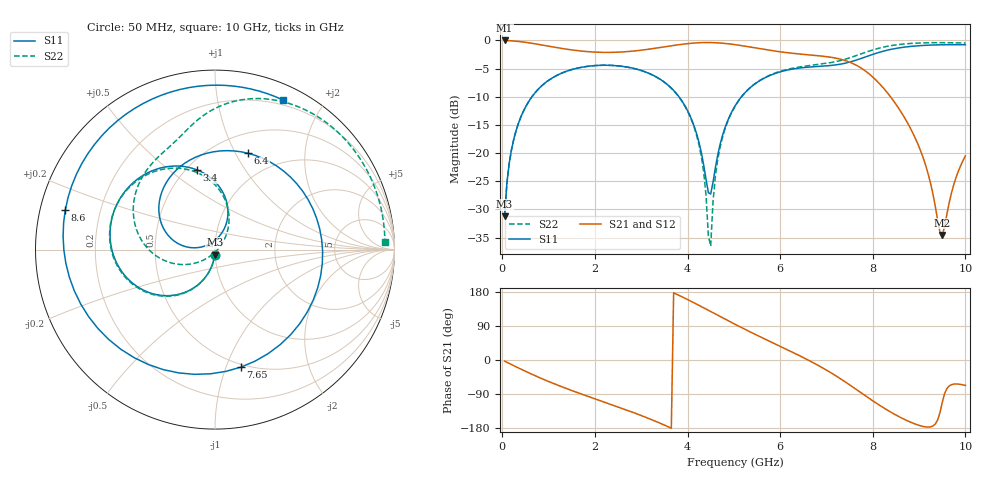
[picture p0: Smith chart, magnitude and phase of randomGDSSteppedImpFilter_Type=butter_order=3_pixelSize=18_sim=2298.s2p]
! freq	dB(S11)	phase(S11)	dB(S12)	phase(S12)
!  dB(S21)	phase(S21)	dB(S22)	phase(S22)
!S-par simulation data
#  GHz  S  DB  R 50
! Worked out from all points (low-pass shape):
!   200 points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, 50 MHz to 10 GHz, reference 50 ohm
!   highest |S21| = -0.01 dB at 50 MHz (marker M1); lowest = -34.5 dB at 9.5 GHz (marker M2)
!   |S21| within 3 dB of the highest: start of sweep to 7.108 GHz
!   lowest |S11| = -31.2 dB at 50 MHz (marker M3), VSWR 1.06, Z = 49.8 - j2.73 ohm
!   |S11| at or under -10 dB: start of sweep to 640.7 MHz; 3.814 GHz to 5.165 GHz (1.35 GHz wide, 30.1 % of centre)
!   |S22| runs from -36.5 to -0.4 dB; largest |S21 - S12| = 0
!   S11 on the Smith chart (normalised r, x): 50 MHz: 1.00, -0.05; 3.4 GHz: 0.56, +0.63; 6.4 GHz: 0.71, +1.13; 7.65 GHz: 0.47, -1.13; 8.6 GHz: 0.07, +0.13; 10 GHz: 0.15, +1.54
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0.05  -31.24 -93.2  -0.01 -3.1  -0.01 -3.1  -31.24 -93.1
0.2  -19.33 -102.7  -0.07 -12.2  -0.07 -12.2  -19.33 -102.6
0.5  -11.85 -120.5  -0.33 -29.8  -0.33 -29.8  -11.85 -120.1
1.75  -4.71 177.1  -1.92 -91.6  -1.92 -91.6  -4.71 178.7
3.4  -6.85 102.6  -1.27 -166.4  -1.27 -166.4  -6.86 105.6
4.15  -15.38 67.1  -0.46 150.3  -0.46 150.3  -15.60 62.2
4.35  -22.15 72.1  -0.38 137.6  -0.38 137.6  -23.47 45.2
4.5  -27.26 133.3  -0.38 128.0  -0.38 128.0  -36.51 -86.6
4.55  -25.17 156.3  -0.39 124.7  -0.39 124.7  -28.63 -122.3
4.65  -20.41 173.3  -0.43 118.3  -0.43 118.3  -21.26 -137.6
5.05  -11.31 163.2  -0.78 92.7  -0.78 92.7  -11.36 -165.2
5.7  -6.51 122.7  -1.65 53.6  -1.65 53.6  -6.46 160.9
6.4  -4.92 71.0  -2.40 12.5  -2.40 12.5  -4.74 132.3
6.7  -4.68 43.7  -2.62 -6.2  -2.62 -6.2  -4.39 122.4
7.2  -4.35 -13.7  -3.14 -41.5  -3.14 -41.5  -3.76 108.9
7.65  -3.47 -77.5  -4.43 -78.2  -4.43 -78.2  -2.67 96.9
7.95  -2.61 -120.1  -6.14 -103.6  -6.14 -103.6  -1.82 86.3
8.35  -1.66 -169.2  -9.65 -134.9  -9.65 -134.9  -0.99 69.6
8.6  -1.28 165.2  -12.56 -151.7  -12.56 -151.7  -0.69 58.8
9.1  -0.89 123.4  -21.12 -175.7  -21.12 -175.7  -0.43 37.8
9.5  -0.77 95.9  -34.50 -112.3  -34.50 -112.3  -0.40 21.9
10  -0.77 65.6  -20.50 -67.0  -20.50 -67.0  -0.47 2.7
